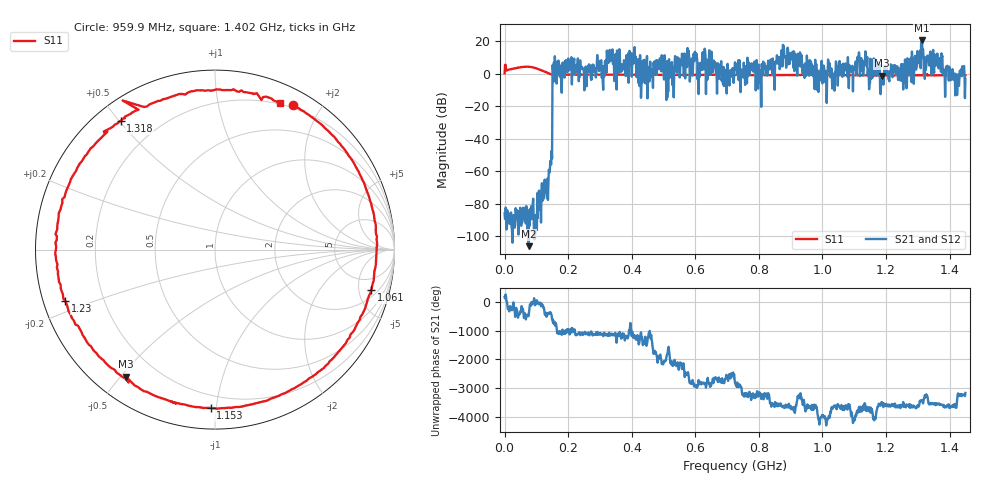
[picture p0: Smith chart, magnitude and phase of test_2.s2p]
! Created with skrf 1.11.0 (http://scikit-rf.org).
# Hz S RI R 50.0
!freq ReS11 ImS11 ReS21 ImS21 ReS12 ImS12 ReS22 ImS22
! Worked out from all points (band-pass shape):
!   1001 points, 50 kHz to 1.45 GHz, reference 50 ohm
!   highest |S21| = 20.39 dB at 1.312 GHz (marker M1); lowest = -106.0 dB at 75.45 MHz (marker M2)
!   |S21| within 3 dB of the highest: 875.7857 MHz to 876.071 MHz (285.3 kHz wide, 0.0326 % of centre); 1.310609 GHz to 1.314095 GHz (3.486 MHz wide, 0.266 % of centre)
!   lowest |S11| = -1.3 dB at 1.186 GHz (marker M3), VSWR 13.71, Z = 4.63 - j25.8 ohm
!   |S11| at or under -10 dB: nowhere
!   |S22| runs from - to - dB; largest |S21 - S12| = 0
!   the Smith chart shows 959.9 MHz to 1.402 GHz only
!   S11 on the Smith chart (normalised r, x): 959.9 MHz: 0.17, +1.67; 1.061 GHz: 2.83, -6.67; 1.153 GHz: 0.12, -0.97; 1.23 GHz: 0.06, -0.17; 1.318 GHz: 0.07, +0.50; 1.402 GHz: 0.19, +1.52
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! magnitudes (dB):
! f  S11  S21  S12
! 50 kHz  0.2  -85.9  -85.9
! 75.45 MHz  4.2  -106.0  -106.0
! 136.3 MHz  0.3  -77.6  -77.6
! 142.1 MHz  -0.1  -60.0  -60.0
! 158.1 MHz  -0.7  10.7  10.7
! 242.2 MHz  -0.6  4.2  4.2
! 449.5 MHz  -0.8  -15.2  -15.2
! 484.3 MHz  -0.7  6.5  6.5
! 725 MHz  -0.8  7.0  7.0
! 801.9 MHz  -0.9  -3.8  -3.8
! 877.3 MHz  -0.9  15.9  15.9
! 959.9 MHz  -0.8  8.3  8.3
! 967.2 MHz  -0.8  -0.7  -0.7
! 1.061 GHz  -0.9  3.9  3.9
! 1.153 GHz  -1.1  -2.9  -2.9
! 1.186 GHz  -1.3  -6.3  -6.3
! 1.209 GHz  -1.1  -3.7  -3.7
! 1.23 GHz  -1.1  4.3  4.3
! 1.312 GHz  -0.9  20.4  20.4
! 1.318 GHz  -1.0  10.9  10.9
! 1.402 GHz  -1.0  2.3  2.3
! 1.45 GHz  -1.0  -3.2  -3.2
